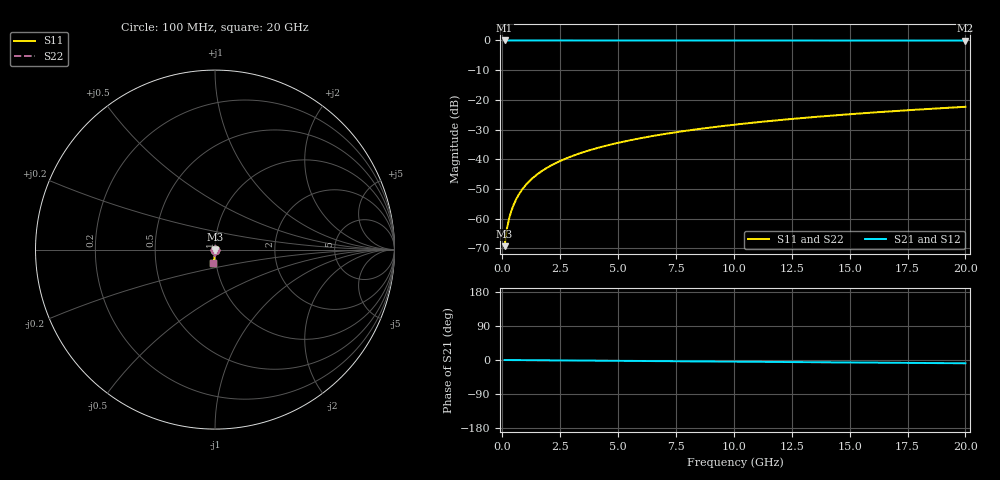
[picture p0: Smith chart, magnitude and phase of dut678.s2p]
! Touchstone file exported from HFSS 2026.1.0
!  File:  C:/ffzhzh/LocalFiles/Ansys_Project_Files/temp_train_TSV_678_1783027326_51716.aedt
!  Generated:  05:23:42 AM Jul  3, 2026
!  Design:  TSV
!  Project:  temp_train_TSV_678_1783027326_51716
! Variables:
!  h_bsmrdl = 2um
!  h_ox = 20um
!  h_rdl = 5um
!  h_sub = 78.87um
!  h_tmrdl = 5um
!  h_tsv = 78.87um
!  h_via = 3um
!  l_bsmrdl = 300um
!  l_sub = 428.28um
!  l_tmrdl = 200um
!  m_sub = 200um
!  pitch = 37.05um
!  r_tsv = 14.14um
!  s_tmrdl = 10um
!  w_bsmrdl = 18um
!  w_sub = 500um
!  w_tmrdl = 12um
!  x_tsv_center1 = 206um
!  x_tsv_center2 = 524um
!  x_tsv_center3 = 736um
!  x_tsv_center4 = 1054um
!  x_tsv_center5 = 1266um
!  x_tsv_center6 = 1584um
# GHz S MA R 50.000000
! Terminal data exported
! Port[1] = TSV1_1_T1
! Port[2] = TSV1_1_T2
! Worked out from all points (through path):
!   200 points, 100 MHz to 20 GHz, reference 50 ohm
!   highest |S21| = 0.00 dB at 100 MHz (marker M1); lowest = 0.0 dB at 20 GHz (marker M2)
!   group delay of S21, straight-line fit = 1.2 ps
!   lowest |S11| = -69.2 dB at 100 MHz (marker M3), VSWR 1.00, Z = 50 - j0.0335 ohm
!   |S11| at or under -10 dB: start of sweep to end of sweep
!   |S22| runs from -69.2 to -22.3 dB; largest |S21 - S12| = 3e-15
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0.1  0.0003453 -75.7  0.9999 -0.0  0.9999 -0.0  0.0003453 -75.7
! Gamma 0 0 0 0
! Port Impedance 50 0 50 0
0.2  0.0006819 -81.4  0.9999 -0.1  0.9999 -0.1  0.0006819 -81.4
0.3  0.00103 -83.0  0.9999 -0.1  0.9999 -0.1  0.00103 -83.0
0.4  0.001388 -83.7  0.9998 -0.2  0.9998 -0.2  0.001388 -83.7
0.5  0.001753 -84.2  0.9998 -0.2  0.9998 -0.2  0.001753 -84.2
0.7  0.002501 -84.9  0.9998 -0.3  0.9998 -0.3  0.002501 -84.9
0.8  0.002879 -85.3  0.9997 -0.4  0.9997 -0.4  0.002879 -85.3
1  0.003641 -85.9  0.9997 -0.4  0.9997 -0.4  0.003641 -85.9
1.2  0.004404 -86.4  0.9997 -0.5  0.9997 -0.5  0.004404 -86.4
1.4  0.005168 -86.9  0.9996 -0.6  0.9996 -0.6  0.005168 -86.9
1.7  0.006313 -87.4  0.9996 -0.8  0.9996 -0.8  0.006313 -87.4
2  0.007457 -87.9  0.9996 -0.9  0.9996 -0.9  0.007457 -87.9
2.7  0.01013 -88.7  0.9995 -1.2  0.9995 -1.2  0.01013 -88.7
3.5  0.01318 -89.4  0.9994 -1.5  0.9994 -1.5  0.01318 -89.4
4.2  0.01586 -89.9  0.9993 -1.8  0.9993 -1.8  0.01586 -89.9
5  0.01892 -90.4  0.9992 -2.2  0.9992 -2.2  0.01892 -90.4
6.8  0.02584 -91.4  0.999 -3.0  0.999 -3.0  0.02584 -91.4
8.3  0.03161 -92.2  0.9987 -3.6  0.9987 -3.6  0.03161 -92.2
10.1  0.03854 -93.1  0.9984 -4.4  0.9984 -4.4  0.03854 -93.1
13.4  0.05122 -94.7  0.9977 -5.8  0.9977 -5.8  0.05122 -94.7
16.7  0.06388 -96.3  0.9969 -7.2  0.9969 -7.2  0.06388 -96.3
20  0.07649 -97.8  0.9958 -8.7  0.9958 -8.7  0.07649 -97.8
